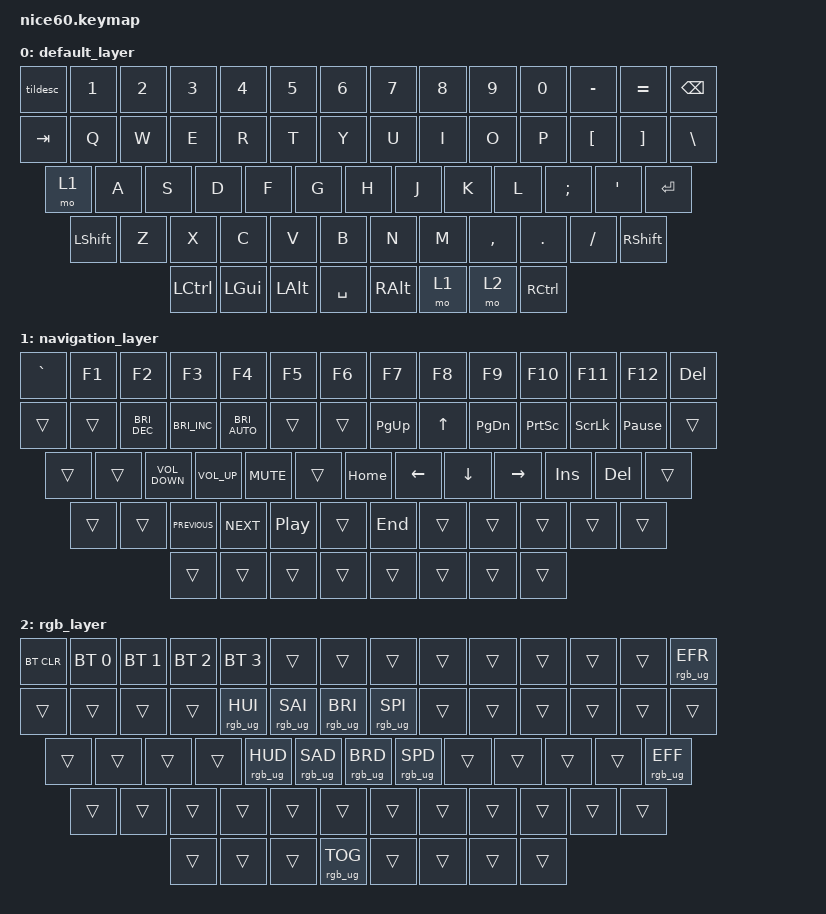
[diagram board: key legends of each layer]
/*
 * Copyright (c) 2021 Nick Winans
 *
 * SPDX-License-Identifier: MIT
 */

#include <behaviors.dtsi>
#include <dt-bindings/zmk/keys.h>
#include <dt-bindings/zmk/rgb.h>
#include <dt-bindings/zmk/bt.h>
#include <dt-bindings/zmk/outputs.h>
#include <dt-bindings/zmk/reset.h>
#include <dt-bindings/zmk/ext_power.h>

/ {
	behaviors {
		tildesc: tilde_escape {
			compatible = "zmk,behavior-mod-morph";
			label = "TILDE_ESCAPE";
			#binding-cells = <0>;
			bindings = <&kp ESC>, <&kp TILDE>;
			mods = <(MOD_LSFT|MOD_RSFT)>;
		};
	};
	keymap {
		compatible = "zmk,keymap";
		
		default_layer {
// ------------------------------------------------------------------------------------------
// | ESC |  1  |  2  |  3  |  4  |  5  |  6  |  7  |  8  |  9  |  0  |  -  |  =  |   BKSP    |
// | TAB  |  Q  |  W  |  E  |  R  |  T  |  Y  |  U  |  I  |  O  |  P  |  [  |  ]  |   "|"    |
// | MO(1)  |  A  |  S  |  D  |  F  |  G  |  H  |  J  |  K  |  L  |  ;  |  '  |     ENTER    |
// |  SHIFT  |  Z  |  X  |  C  |  V  |  B  |  N  |  M  |  ,  |  .  |  /  |      SHIFT        |
// |  CTL  |  WIN  |  ALT  |            SPACE             |  ALT  |  MO(1)  |  MO(2) |  CTL  |
// ------------------------------------------------------------------------------------------
			bindings = <
	&tildesc  &kp N1 &kp N2 &kp N3 &kp N4 &kp N5 &kp N6 &kp N7 &kp N8 &kp N9 &kp N0 &kp MINUS &kp EQUAL  &kp BSPC
	&kp TAB  &kp Q  &kp W  &kp E  &kp R  &kp T  &kp Y  &kp U  &kp I  &kp O  &kp P  &kp LBKT  &kp RBKT  &kp BSLH
	&mo 1  &kp A  &kp S  &kp D  &kp F  &kp G  &kp H  &kp J  &kp K  &kp L  &kp SEMI &kp SQT           &kp RET
	&kp LSHFT   &kp Z  &kp X  &kp C  &kp V  &kp B  &kp N  &kp M  &kp COMMA &kp DOT &kp FSLH           &kp RSHFT
	&kp LCTRL &kp LGUI &kp LALT             &kp SPACE                     &kp RALT  &mo 1  &mo 2   &kp RCTRL
			>;
		};

		navigation_layer {
			bindings = <
	&kp GRAVE  &kp F1  &kp F2  &kp F3  &kp F4  &kp F5  &kp F6  &kp F7  &kp F8  &kp F9  &kp F10  &kp F11  &kp F12  &kp DELETE
	&trans  &trans  &kp C_BRIGHTNESS_DEC  &kp C_BRIGHTNESS_INC   &kp C_BRIGHTNESS_AUTO  &trans  &trans  &kp PAGE_UP  &kp UP  &kp PAGE_DOWN  &kp PRINTSCREEN  &kp SCROLLLOCK  &kp PAUSE_BREAK  &trans
	&trans  &trans  &kp C_VOLUME_DOWN  &kp C_VOLUME_UP  &kp C_MUTE  &trans  &kp HOME  &kp LEFT  &kp DOWN  &kp RIGHT  &kp INSERT  &kp DELETE  &trans
	&trans  &trans  &kp C_PREVIOUS  &kp C_NEXT  &kp C_PLAY_PAUSE  &trans  &kp END  &trans  &trans  &trans  &trans  &trans
	&trans  &trans  &trans  &trans  &trans  &trans  &trans  &trans
			>;
		};
		
		rgb_layer {
			bindings = <
	&bt BT_CLR  &bt BT_SEL 0  &bt BT_SEL 1  &bt BT_SEL 2  &bt BT_SEL 3  &trans  &trans  &trans  &trans  &trans  &trans  &trans  &trans  &rgb_ug RGB_EFR
	&trans  &trans  &trans  &trans  &rgb_ug RGB_HUI  &rgb_ug RGB_SAI  &rgb_ug RGB_BRI  &rgb_ug RGB_SPI  &trans  &trans  &trans  &trans  &trans  &trans 
	&trans  &trans  &trans  &trans  &rgb_ug RGB_HUD  &rgb_ug RGB_SAD  &rgb_ug RGB_BRD  &rgb_ug RGB_SPD  &trans  &trans  &trans  &trans  &rgb_ug RGB_EFF
	&trans  &trans  &trans  &trans   &trans  &trans  &trans  &trans  &trans  &trans  &trans  &trans
	&trans  &trans  &trans  &rgb_ug RGB_TOG  &trans  &trans  &trans  &trans
			>;
		};
	};
};
